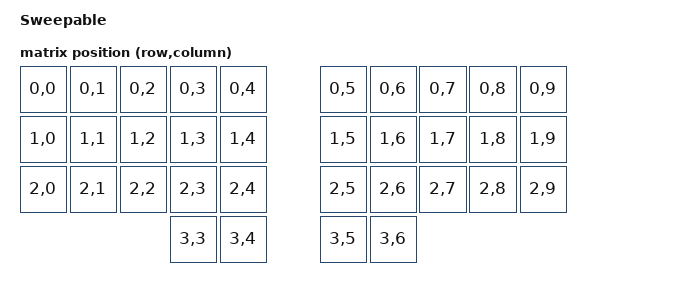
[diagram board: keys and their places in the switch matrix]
// Copyright (c) 2026 jack@pngu.org
// SPDX-License-Identifier: MIT

/dts-v1/;
#include <nordic/nrf52840_qiaa.dtsi>
#include "sweepable-pinctrl.dtsi"
#include <layouts/cuddlykeyboards/ferris.dtsi>
#include <dt-bindings/zmk/matrix_transform.h>

&cuddlykeyboards_ferris_layout {
    transform = <&default_transform>;
};

/ {
    model = "Sweepable";
    compatible = "sweepable";

    chosen {
        zephyr,code-partition = &code_partition;
        zephyr,sram = &sram0;
        zephyr,flash = &flash0;
        zmk,kscan = &kscan0;
        zmk,battery = &battery_gauge;
        zmk,physical-layout = &cuddlykeyboards_ferris_layout;
    };

    default_transform: keymap_transform_0 {
        compatible = "zmk,matrix-transform";
        columns = <10>;
        rows = <4>;
        map = <
        RC(0,0) RC(0,1) RC(0,2) RC(0,3) RC(0,4) RC(0,5) RC(0,6) RC(0,7) RC(0,8) RC(0,9)
        RC(1,0) RC(1,1) RC(1,2) RC(1,3) RC(1,4) RC(1,5) RC(1,6) RC(1,7) RC(1,8) RC(1,9)
        RC(2,0) RC(2,1) RC(2,2) RC(2,3) RC(2,4) RC(2,5) RC(2,6) RC(2,7) RC(2,8) RC(2,9)
                                RC(3,3) RC(3,4) RC(3,5) RC(3,6)
        >;
    };

    leds {
        compatible = "gpio-leds";
        status_led: led_0 {
            gpios = <&gpio1 9 GPIO_ACTIVE_HIGH>;
        };
    };
};

&gpiote {
    status = "okay";
};

&gpio0 {
    status = "okay";
};

&gpio1 {
    status = "okay";
};

zephyr_udc0: &usbd {
    status = "okay";
};

&flash0 {
    partitions {
        compatible = "fixed-partitions";
        #address-cells = <1>;
        #size-cells = <1>;

        sd_partition: partition@0 {
            label = "mbr";
            reg = <0x00000000 0x00001000>;
        };

        code_partition: partition@1000 {
            label = "code_partition";
            reg = <0x00001000 0x000d3000>;
        };

        storage_partition: partition@d4000 {
            label = "storage";
            reg = <0x000d4000 0x00020000>;
        };

        boot_partition: partition@f4000 {
            label = "adafruit_boot";
            reg = <0x000f4000 0x0000c000>;
        };
    };
};

&i2c0 {
    status = "okay";
    compatible = "nordic,nrf-twi";
    pinctrl-0 = <&i2c0_default>;
    pinctrl-1 = <&i2c0_sleep>;
    pinctrl-names = "default", "sleep";

    battery_gauge: max17048@36 {
        compatible = "zmk,maxim-max17048";
        status = "okay";
        reg = <0x36>;
    };
};
